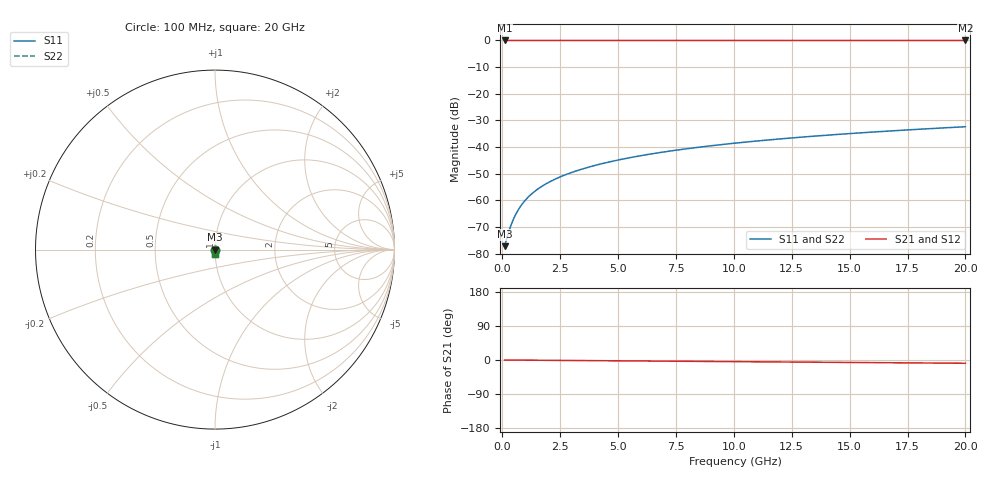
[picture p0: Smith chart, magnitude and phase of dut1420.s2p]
! Touchstone file exported from HFSS 2026.1.0
!  File:  C:/ffzhzh/LocalFiles/Ansys_Project_Files/temp_train_TSV_1420_1783197253_51560.aedt
!  Generated:  04:35:44 AM Jul  5, 2026
!  Design:  TSV
!  Project:  temp_train_TSV_1420_1783197253_51560
! Variables:
!  h_bsmrdl = 2um
!  h_ox = 20um
!  h_rdl = 5um
!  h_sub = 88.35um
!  h_tmrdl = 5um
!  h_tsv = 88.35um
!  h_via = 3um
!  l_bsmrdl = 300um
!  l_sub = 422.6um
!  l_tmrdl = 200um
!  m_sub = 200um
!  pitch = 39.01um
!  r_tsv = 11.3um
!  s_tmrdl = 10um
!  w_bsmrdl = 18um
!  w_sub = 500um
!  w_tmrdl = 12um
!  x_tsv_center1 = 206um
!  x_tsv_center2 = 524um
!  x_tsv_center3 = 736um
!  x_tsv_center4 = 1054um
!  x_tsv_center5 = 1266um
!  x_tsv_center6 = 1584um
# GHz S MA R 50.000000
! Terminal data exported
! Port[1] = TSV1_1_T1
! Port[2] = TSV1_1_T2
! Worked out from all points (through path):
!   200 points, 100 MHz to 20 GHz, reference 50 ohm
!   highest |S21| = 0.00 dB at 100 MHz (marker M1); lowest = 0.0 dB at 20 GHz (marker M2)
!   group delay of S21, straight-line fit = 1.19 ps
!   lowest |S11| = -77.2 dB at 100 MHz (marker M3), VSWR 1.00, Z = 50 - j0.00715 ohm
!   |S11| at or under -10 dB: start of sweep to end of sweep
!   |S22| runs from -77.2 to -32.4 dB; largest |S21 - S12| = 1.3e-15
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0.1  0.0001379 -31.2  0.9999 -0.0  0.9999 -0.0  0.0001379 -31.2
! Gamma 0 0 0 0
! Port Impedance 50 0 50 0
0.2  0.0001976 -47.9  0.9999 -0.1  0.9999 -0.1  0.0001976 -47.9
0.3  0.0002752 -56.0  0.9998 -0.1  0.9998 -0.1  0.0002752 -56.0
0.4  0.0003642 -60.5  0.9998 -0.2  0.9998 -0.2  0.0003642 -60.5
0.5  0.0004616 -63.5  0.9998 -0.2  0.9998 -0.2  0.0004616 -63.5
0.6  0.0005651 -65.8  0.9998 -0.3  0.9998 -0.3  0.0005651 -65.8
0.8  0.0007839 -69.2  0.9997 -0.4  0.9997 -0.4  0.0007839 -69.2
1.1  0.001126 -73.0  0.9997 -0.5  0.9997 -0.5  0.001126 -73.0
1.3  0.001358 -74.9  0.9996 -0.6  0.9996 -0.6  0.001358 -74.9
1.5  0.00159 -76.4  0.9996 -0.7  0.9996 -0.7  0.00159 -76.4
1.8  0.001938 -78.2  0.9996 -0.8  0.9996 -0.8  0.001938 -78.2
2.1  0.002287 -79.6  0.9995 -0.9  0.9995 -0.9  0.002287 -79.6
2.7  0.002986 -81.6  0.9995 -1.2  0.9995 -1.2  0.002986 -81.6
3.5  0.003924 -83.3  0.9994 -1.5  0.9994 -1.5  0.003924 -83.3
4.2  0.004751 -84.4  0.9994 -1.8  0.9994 -1.8  0.004751 -84.4
5  0.005704 -85.4  0.9993 -2.2  0.9993 -2.2  0.005704 -85.4
6.8  0.007871 -87.2  0.9992 -2.9  0.9992 -2.9  0.007872 -87.2
8.3  0.009693 -88.4  0.9991 -3.6  0.9991 -3.6  0.009693 -88.4
10.1  0.01189 -89.7  0.999 -4.4  0.999 -4.4  0.01189 -89.7
13.4  0.01592 -91.8  0.9988 -5.8  0.9988 -5.8  0.01592 -91.8
16.7  0.01997 -93.7  0.9986 -7.2  0.9986 -7.2  0.01997 -93.7
20  0.02403 -95.4  0.9983 -8.6  0.9983 -8.6  0.02403 -95.4
